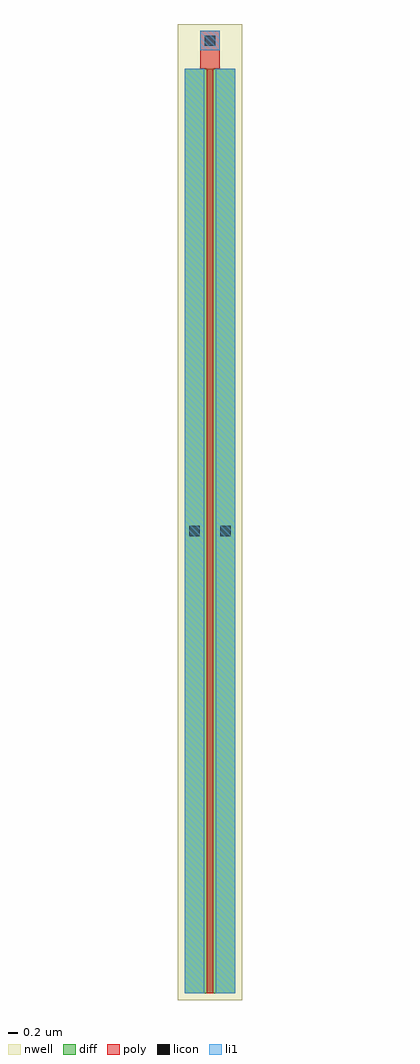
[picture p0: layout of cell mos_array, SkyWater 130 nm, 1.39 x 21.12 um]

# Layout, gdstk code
import gdstk
lib = gdstk.Library(unit=1e-6, precision=1e-09)
def R(c, l, rs):  # rectangles x0, y0, x1, y1
    for r in rs: c.add(gdstk.rectangle(r[:2], r[2:], *l))
nwell = (64, 20)
diff = (65, 20)
poly = (66, 20)
licon = (66, 44)
li1 = (67, 20)

mos_array = lib.new_cell('mos_array')
R(mos_array, nwell, [(-0.15,-0.15,1.24,20.97)])
R(mos_array, diff, [(0,0,1.09,20)])
R(mos_array, poly, [(0.47,0,0.62,20), (0.335,20,0.755,20.82)])
R(mos_array, licon, [(0.1,9.89,0.32,10.11), (0.77,9.89,0.99,10.11), (0.435,20.5,0.655,20.72)])
R(mos_array, li1, [(0,0,0.42,20), (0.67,0,1.09,20), (0.335,20.4,0.755,20.82)])

lib.write_gds('mos_array.gds')
